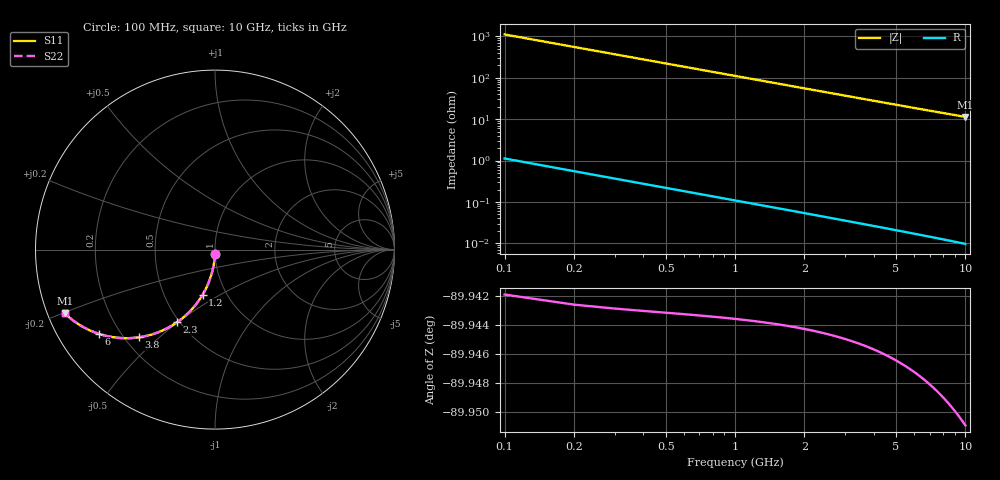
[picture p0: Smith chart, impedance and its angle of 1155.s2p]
# Hz S RI R 50.00
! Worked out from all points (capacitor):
!   100 points, 100 MHz to 10 GHz, reference 50 ohm
!   read as one part in shunt: C = 1.44 pF near 100 MHz
!   lowest |Z| = 11.3 ohm at 10 GHz (marker M1)
!   S11 on the Smith chart (normalised r, x): 100 MHz: 1.00, -0.04; 1.2 GHz: 0.77, -0.42; 2.3 GHz: 0.48, -0.50; 3.8 GHz: 0.26, -0.43; 6 GHz: 0.12, -0.32; 10 GHz: 0.05, -0.20
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1e8  -0.000467 -0.0224  0.9994 -0.0227  0.9994 -0.0227  -0.000467 -0.0224
2e8  -0.00201 -0.0448  0.9979 -0.0453  0.9979 -0.0453  -0.00201 -0.0448
3e8  -0.00456 -0.067  0.9953 -0.0678  0.9953 -0.0678  -0.00456 -0.067
4e8  -0.0081 -0.089  0.9918 -0.09  0.9918 -0.09  -0.0081 -0.089
5e8  -0.0126 -0.1107  0.9873 -0.112  0.9873 -0.112  -0.0126 -0.1107
6e8  -0.0181 -0.1321  0.9818 -0.1337  0.9818 -0.1337  -0.0181 -0.1321
7e8  -0.0244 -0.1531  0.9755 -0.1549  0.9755 -0.1549  -0.0244 -0.1531
9e8  -0.0397 -0.1937  0.9602 -0.1961  0.9602 -0.1961  -0.0397 -0.1937
1.2e9  -0.0684 -0.2505  0.9314 -0.2537  0.9314 -0.2537  -0.0684 -0.2505
1.5e9  -0.1029 -0.3015  0.8969 -0.3054  0.8969 -0.3054  -0.1029 -0.3015
1.8e9  -0.1417 -0.346  0.8581 -0.3507  0.8581 -0.3507  -0.1417 -0.346
2.3e9  -0.2123 -0.4055  0.7875 -0.4115  0.7875 -0.4115  -0.2123 -0.4055
2.8e9  -0.2854 -0.4474  0.7144 -0.4548  0.7144 -0.4548  -0.2854 -0.4474
3.4e9  -0.3706 -0.478  0.6292 -0.487  0.6292 -0.487  -0.3706 -0.478
3.8e9  -0.4238 -0.4886  0.576 -0.4987  0.576 -0.4987  -0.4238 -0.4886
4.4e9  -0.4966 -0.4937  0.5032 -0.5053  0.5032 -0.5053  -0.4966 -0.4937
5.1e9  -0.5701 -0.4878  0.4297 -0.5013  0.4297 -0.5013  -0.5701 -0.4878
6e9  -0.6475 -0.4692  0.3522 -0.4852  0.3522 -0.4852  -0.6475 -0.4692
6.7e9  -0.6963 -0.4503  0.3034 -0.4682  0.3034 -0.4682  -0.6963 -0.4503
7.5e9  -0.742 -0.4269  0.2577 -0.447  0.2577 -0.447  -0.742 -0.4269
8.4e9  -0.7832 -0.4001  0.2164 -0.4227  0.2164 -0.4227  -0.7832 -0.4001
1e10  -0.8371 -0.355  0.1624 -0.382  0.1624 -0.382  -0.8371 -0.355
